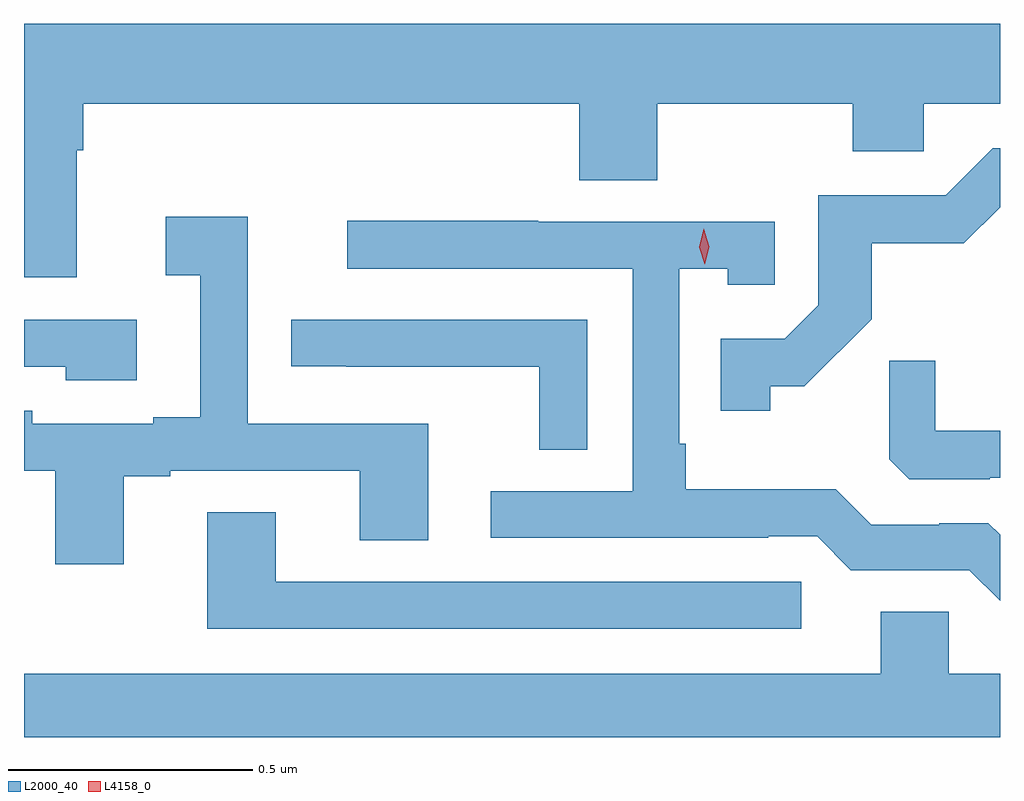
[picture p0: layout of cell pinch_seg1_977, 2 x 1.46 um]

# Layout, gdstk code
import gdstk
lib = gdstk.Library(unit=1e-6, precision=1e-09)
def P(c, l, *ps):  # polygons
    for p in ps: c.add(gdstk.Polygon(p, *l))
L2000_40 = (2000, 40)
L4158_0 = (4158, 0)

pinch_seg1_977 = lib.new_cell('pinch_seg1_977')
P(pinch_seg1_977, L2000_40, [(227.485,523.664),(227.498,523.664),(227.498,523.76),(228.515,523.76),(228.515,523.603),(228.675,523.603),(228.675,523.76),(229.075,523.76),(229.075,523.662),(229.221,523.662),(229.221,523.76),(229.377,523.76),(229.377,523.924),(227.377,523.924),(227.377,523.404),(227.485,523.404)],
  [(228.906,523.181),(228.976,523.181),(229.114,523.318),(229.114,523.474),(229.303,523.474),(229.377,523.548),(229.377,523.668),(229.362,523.668),(229.266,523.572),(229.005,523.572),(229.005,523.347),(228.936,523.278),(228.805,523.278),(228.805,523.131),(228.906,523.131)],
  [(227.581,522.996),(227.677,522.996),(227.677,523.008),(228.065,523.008),(228.065,522.865),(228.205,522.865),(228.205,523.104),(227.835,523.104),(227.835,523.528),(227.667,523.528),(227.667,523.408),(227.738,523.408),(227.738,523.117),(227.642,523.117),(227.642,523.104),(227.394,523.104),(227.394,523.131),(227.377,523.131),(227.377,523.008),(227.441,523.008),(227.441,522.816),(227.581,522.816)],
  [(229.377,522.876),(229.353,522.9),(229.252,522.9),(229.252,522.897),(229.113,522.897),(229.04,522.97),(228.733,522.97),(228.733,523.063),(228.72,523.063),(228.72,523.421),(228.819,523.421),(228.819,523.389),(228.915,523.389),(228.915,523.518),(228.431,523.518),(228.431,523.52),(228.039,523.52),(228.039,523.422),(228.624,523.422),(228.624,522.966),(228.333,522.966),(228.333,522.87),(228.902,522.87),(228.902,522.873),(229.002,522.873),(229.071,522.804),(229.314,522.804),(229.377,522.741)],
  [(227.608,523.317),(227.377,523.317),(227.377,523.221),(227.463,523.221),(227.463,523.193),(227.608,523.193)],
  [(228.531,523.317),(227.925,523.317),(227.925,523.222),(228.037,523.222),(228.037,523.221),(228.433,523.221),(228.433,523.051),(228.531,523.051)],
  [(229.356,522.993),(229.377,522.993),(229.377,523.09),(229.244,523.09),(229.244,523.233),(229.15,523.233),(229.15,523.031),(229.191,522.99),(229.356,522.99)],
  [(228.97,522.78),(227.893,522.78),(227.893,522.923),(227.753,522.923),(227.753,522.684),(228.97,522.684)],
  [(229.377,522.592),(229.272,522.592),(229.272,522.719),(229.133,522.719),(229.133,522.592),(227.377,522.592),(227.377,522.461),(229.377,522.461)])
P(pinch_seg1_977, L4158_0, [(228.772,523.431),(228.772,523.431),(228.761,523.466),(228.77,523.503),(228.77,523.503),(228.77,523.503),(228.781,523.467),(228.772,523.431)])

lib.write_gds('pinch_seg1_977.gds')
